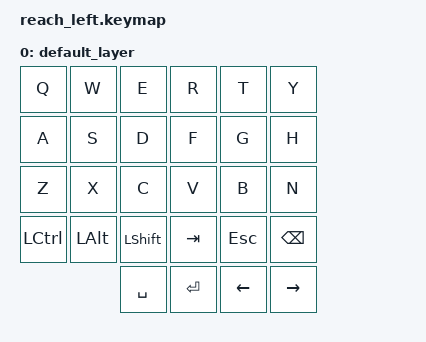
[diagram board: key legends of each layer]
#include <behaviors.dtsi>
#include <dt-bindings/zmk/keys.h>

/ {
    keymap {
        compatible = "zmk,keymap";
        default_layer {
            bindings = <
                &kp Q      &kp W      &kp E      &kp R      &kp T      &kp Y
                &kp A      &kp S      &kp D      &kp F      &kp G      &kp H
                &kp Z      &kp X      &kp C      &kp V      &kp B      &kp N
                &kp LCTRL  &kp LALT   &kp LSHFT  &kp TAB    &kp ESC    &kp BSPC
                                        &kp SPACE  &kp RET    &kp LEFT   &kp RIGHT
            >;
        };
    };
};
